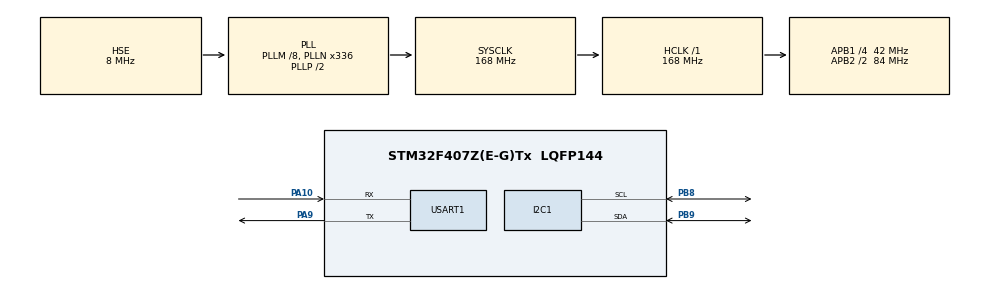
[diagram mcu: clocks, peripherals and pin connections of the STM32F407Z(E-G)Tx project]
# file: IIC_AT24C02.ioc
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I2C1.DualAddressMode=I2C_DUALADDRESS_DISABLE
I2C1.DutyCycle=I2C_DUTYCYCLE_16_9
I2C1.GeneralCallMode=I2C_GENERALCALL_DISABLE
I2C1.I2C_Mode=I2C_Fast
I2C1.NoStretchMode=I2C_NOSTRETCH_DISABLE
Mcu.Family=STM32F4
Mcu.Name=STM32F407Z(E-G)Tx
Mcu.Package=LQFP144
NVIC.PriorityGroup=NVIC_PRIORITYGROUP_4
PA10.Mode=Asynchronous
PA10.Signal=USART1_RX
PA13.Mode=Serial_Wire
PA13.Signal=SYS_JTMS-SWDIO
PA14.Mode=Serial_Wire
PA14.Signal=SYS_JTCK-SWCLK
PA9.Mode=Asynchronous
PA9.Signal=USART1_TX
PB8.Mode=I2C
PB8.Signal=I2C1_SCL
PB9.Mode=I2C
PB9.Signal=I2C1_SDA
PH0-OSC_IN.Mode=HSE-External-Oscillator
PH0-OSC_IN.Signal=RCC_OSC_IN
PH1-OSC_OUT.Mode=HSE-External-Oscillator
PH1-OSC_OUT.Signal=RCC_OSC_OUT
ProjectManager.HeapSize=0x200
ProjectManager.StackSize=0x400
ProjectManager.TargetToolchain=MDK-ARM V5
RCC.48MHZClocksFreq_Value=84000000
RCC.AHBFreq_Value=168000000
RCC.APB1CLKDivider=RCC_HCLK_DIV4
RCC.APB1Freq_Value=42000000
RCC.APB1TimFreq_Value=84000000
RCC.APB2CLKDivider=RCC_HCLK_DIV2
RCC.APB2Freq_Value=84000000
RCC.APB2TimFreq_Value=168000000
RCC.CortexFreq_Value=21000000
RCC.Cortex_Div=SYSTICK_CLKSOURCE_HCLK_DIV8
RCC.HCLKFreq_Value=168000000
RCC.HSE_VALUE=8000000
RCC.HSI_VALUE=16000000
RCC.LSE_VALUE=32768
RCC.PLLM=8
RCC.PLLN=336
RCC.PLLSourceVirtual=RCC_PLLSOURCE_HSE
RCC.SYSCLKFreq_VALUE=168000000
RCC.SYSCLKSource=RCC_SYSCLKSOURCE_PLLCLK
RCC.VCOOutputFreq_Value=336000000
board=IIC_AT24C02

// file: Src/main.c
/**
  ******************************************************************************
  * File Name          : main.c
  * Description        : Main program body
  ******************************************************************************
  *
  * COPYRIGHT(c) 2016 STMicroelectronics
  *
  * Redistribution and use in source and binary forms, with or without modification,
  * are permitted provided that the following conditions are met:
  *   1. Redistributions of source code must retain the above copyright notice,
  *      this list of conditions and the following disclaimer.
  *   2. Redistributions in binary form must reproduce the above copyright notice,
  *      this list of conditions and the following disclaimer in the documentation
  *      and/or other materials provided with the distribution.
  *   3. Neither the name of STMicroelectronics nor the names of its contributors
  *      may be used to endorse or promote products derived from this software
  *      without specific prior written permission.
  *
  * THIS SOFTWARE IS PROVIDED BY THE COPYRIGHT HOLDERS AND CONTRIBUTORS "AS IS"
  * AND ANY EXPRESS OR IMPLIED WARRANTIES, INCLUDING, BUT NOT LIMITED TO, THE
  * IMPLIED WARRANTIES OF MERCHANTABILITY AND FITNESS FOR A PARTICULAR PURPOSE ARE
  * DISCLAIMED. IN NO EVENT SHALL THE COPYRIGHT HOLDER OR CONTRIBUTORS BE LIABLE
  * FOR ANY DIRECT, INDIRECT, INCIDENTAL, SPECIAL, EXEMPLARY, OR CONSEQUENTIAL
  * DAMAGES (INCLUDING, BUT NOT LIMITED TO, PROCUREMENT OF SUBSTITUTE GOODS OR
  * SERVICES; LOSS OF USE, DATA, OR PROFITS; OR BUSINESS INTERRUPTION) HOWEVER
  * CAUSED AND ON ANY THEORY OF LIABILITY, WHETHER IN CONTRACT, STRICT LIABILITY,
  * OR TORT (INCLUDING NEGLIGENCE OR OTHERWISE) ARISING IN ANY WAY OUT OF THE USE
  * OF THIS SOFTWARE, EVEN IF ADVISED OF THE POSSIBILITY OF SUCH DAMAGE.
  *
  ******************************************************************************
  */
#include "main.h"
#include "stm32f4xx_hal.h"
#include "i2c.h"
#include "usart.h"
#include "gpio.h"

/* USER CODE BEGIN Includes */
#include "at24cxx.h"
/* USER CODE END Includes */

/* USER CODE BEGIN PV */
/* Private variables ---------------------------------------------------------*/

/* USER CODE END PV */

void SystemClock_Config(void);
void Error_Handler(void);

/* USER CODE BEGIN PFP */
/* Private function prototypes -----------------------------------------------*/

/* USER CODE END PFP */

/* USER CODE BEGIN 0 */
uint8_t writebuf[]={"This is a IIC_AT24CXX test. 至此，则 IIC_AT24CXX 测试成功！"};
#define SIZE	sizeof(writebuf)
/* USER CODE END 0 */

int main(void)
{

  /* USER CODE BEGIN 1 */
	uint8_t readbuf[SIZE];
  /* USER CODE END 1 */

  /* MCU Configuration----------------------------------------------------------*/

  /* Reset of all peripherals, Initializes the Flash interface and the Systick. */
  HAL_Init();

  /* Configure the system clock */
  SystemClock_Config();

  /* Initialize all configured peripherals */
  MX_GPIO_Init();
  MX_I2C1_Init();
  MX_USART1_UART_Init();

  /* USER CODE BEGIN 2 */

	while(AT24CXX_Check())
	{
		printf("失败！\n IIC_AT24CXX 单字节 读/写 失败！\n");
		HAL_Delay(500);
	}
	printf("成功！\n IIC_AT24CXX 单字节 读/写 成功！\n\n");

	printf("Writing...\n");
	AT24CXX_WriteData(10, writebuf, SIZE);
	printf("Writing Success!\n\n");

	printf("Reading...\n");
	AT24CXX_ReadData(10, readbuf, SIZE);
	printf("Reading Success!\n");

	printf("The read datas are:\n %s\n",readbuf);

  /* USER CODE END 2 */

  /* Infinite loop */
  while (1)
  {

  /* USER CODE BEGIN 3 */
	HAL_Delay(500);
  }
  /* USER CODE END 3 */

}

/** System Clock Configuration
*/
void SystemClock_Config(void)
{

  RCC_OscInitTypeDef RCC_OscInitStruct;
  RCC_ClkInitTypeDef RCC_ClkInitStruct;

    /**Configure the main internal regulator output voltage
    */
  __HAL_RCC_PWR_CLK_ENABLE();

  __HAL_PWR_VOLTAGESCALING_CONFIG(PWR_REGULATOR_VOLTAGE_SCALE1);

    /**Initializes the CPU, AHB and APB busses clocks
    */
  RCC_OscInitStruct.OscillatorType = RCC_OSCILLATORTYPE_HSE;
  RCC_OscInitStruct.HSEState = RCC_HSE_ON;
  RCC_OscInitStruct.PLL.PLLState = RCC_PLL_ON;
  RCC_OscInitStruct.PLL.PLLSource = RCC_PLLSOURCE_HSE;
  RCC_OscInitStruct.PLL.PLLM = 8;
  RCC_OscInitStruct.PLL.PLLN = 336;
  RCC_OscInitStruct.PLL.PLLP = RCC_PLLP_DIV2;
  RCC_OscInitStruct.PLL.PLLQ = 4;
  if (HAL_RCC_OscConfig(&RCC_OscInitStruct) != HAL_OK)
  {
    Error_Handler();
  }

    /**Initializes the CPU, AHB and APB busses clocks
    */
  RCC_ClkInitStruct.ClockType = RCC_CLOCKTYPE_HCLK|RCC_CLOCKTYPE_SYSCLK
                              |RCC_CLOCKTYPE_PCLK1|RCC_CLOCKTYPE_PCLK2;
  RCC_ClkInitStruct.SYSCLKSource = RCC_SYSCLKSOURCE_PLLCLK;
  RCC_ClkInitStruct.AHBCLKDivider = RCC_SYSCLK_DIV1;
  RCC_ClkInitStruct.APB1CLKDivider = RCC_HCLK_DIV4;
  RCC_ClkInitStruct.APB2CLKDivider = RCC_HCLK_DIV2;

  if (HAL_RCC_ClockConfig(&RCC_ClkInitStruct, FLASH_LATENCY_5) != HAL_OK)
  {
    Error_Handler();
  }

    /**Configure the Systick interrupt time
    */
  HAL_SYSTICK_Config(HAL_RCC_GetHCLKFreq()/8000);

    /**Configure the Systick
    */
  HAL_SYSTICK_CLKSourceConfig(SYSTICK_CLKSOURCE_HCLK_DIV8);

  /* SysTick_IRQn interrupt configuration */
  HAL_NVIC_SetPriority(SysTick_IRQn, 0, 0);
}

void Error_Handler(void)
{
  while(1)
  {
  }
}

/************************ (C) COPYRIGHT STMicroelectronics *****END OF FILE****/
